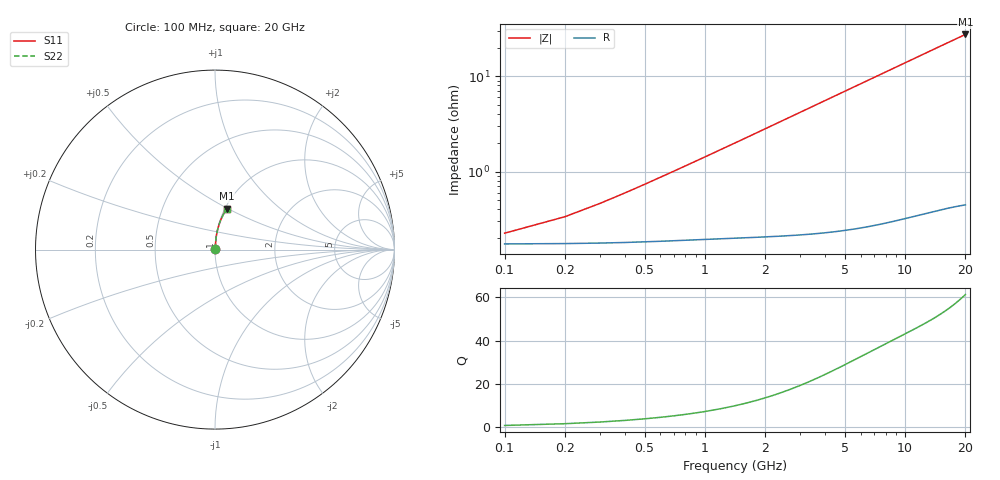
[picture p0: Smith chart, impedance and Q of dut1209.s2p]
! Touchstone file exported from HFSS 2024.1.0
!  File:  C:/UserFiles/LocalFiles/RDL_TSV_Batchsim/temp_RDL_top_1209_1780239786.aedt
!  Generated:  11:05:30 PM May 31, 2026
!  Design:  RDL_top
!  Project:  temp_RDL_top_1209_1780239786
!  Setup:  Setup1
!  Solution:  Sweep
! Variables:
!  dtsv = 10.80580581um
!  hbump = 3um
!  htsv = 77.49um
!  ldown = 100um
!  lrdl = 148.24um
!  p = 40
!  p1 = 58.4um
!  rhole = 1um
!  t = 450um
!  tdown = 3.915915916um
!  trdl = 2.84um
!  wdown = 15.38538539um
!  wrdl = 12.09um
# GHz S MA R 50.000000
! Terminal data exported
! Port[1] = Box2_T1
! Port[2] = Box2_T2
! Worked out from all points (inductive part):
!   200 points, 100 MHz to 20 GHz, reference 50 ohm
!   read as one part in series: L = 226 pH near 400 MHz
!   highest Q = 61.3 at 20 GHz (marker M1), where L = 218 pH
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0.1  0.002123 35.1  0.9983 -0.1  0.9983 -0.1  0.002123 35.1
! Gamma 0 0 0 0
! Port Impedance 50 0 50 0
0.2  0.003004 54.3  0.9982 -0.2  0.9982 -0.2  0.003004 54.3
0.3  0.00406 64.0  0.9982 -0.3  0.9982 -0.3  0.00406 64.0
0.4  0.00518 69.5  0.9982 -0.4  0.9982 -0.4  0.00518 69.5
0.5  0.006324 73.0  0.9981 -0.5  0.9981 -0.5  0.006324 73.0
0.6  0.00748 75.4  0.9981 -0.6  0.9981 -0.6  0.00748 75.4
0.8  0.009805 78.5  0.998 -0.7  0.998 -0.7  0.009805 78.5
1.1  0.01331 81.0  0.9979 -1.0  0.9979 -1.0  0.01331 81.0
1.5  0.018 82.9  0.9976 -1.4  0.9976 -1.4  0.018 82.9
1.8  0.02154 83.7  0.9975 -1.7  0.9975 -1.7  0.02154 83.7
2.1  0.02508 84.2  0.9972 -1.9  0.9972 -1.9  0.02508 84.2
2.7  0.0322 84.8  0.9967 -2.5  0.9967 -2.5  0.0322 84.8
3.5  0.04173 85.1  0.9959 -3.2  0.9959 -3.2  0.04172 85.1
4.2  0.0501 85.1  0.9951 -3.8  0.9951 -3.8  0.0501 85.1
5  0.05971 85.0  0.9939 -4.5  0.9939 -4.5  0.05971 84.9
5.9  0.07057 84.6  0.9925 -5.3  0.9925 -5.3  0.07057 84.6
6.8  0.08146 84.1  0.9909 -6.1  0.9909 -6.1  0.08146 84.1
8.3  0.09965 83.2  0.988 -7.4  0.988 -7.4  0.09965 83.2
10.1  0.1215 82.0  0.9841 -8.9  0.9841 -8.9  0.1215 82.0
13.4  0.1611 79.4  0.976 -11.7  0.976 -11.7  0.1611 79.4
16.7  0.1999 76.8  0.9669 -14.4  0.9669 -14.4  0.1999 76.8
20  0.2376 74.1  0.9568 -17.0  0.9568 -17.0  0.2376 74.1
